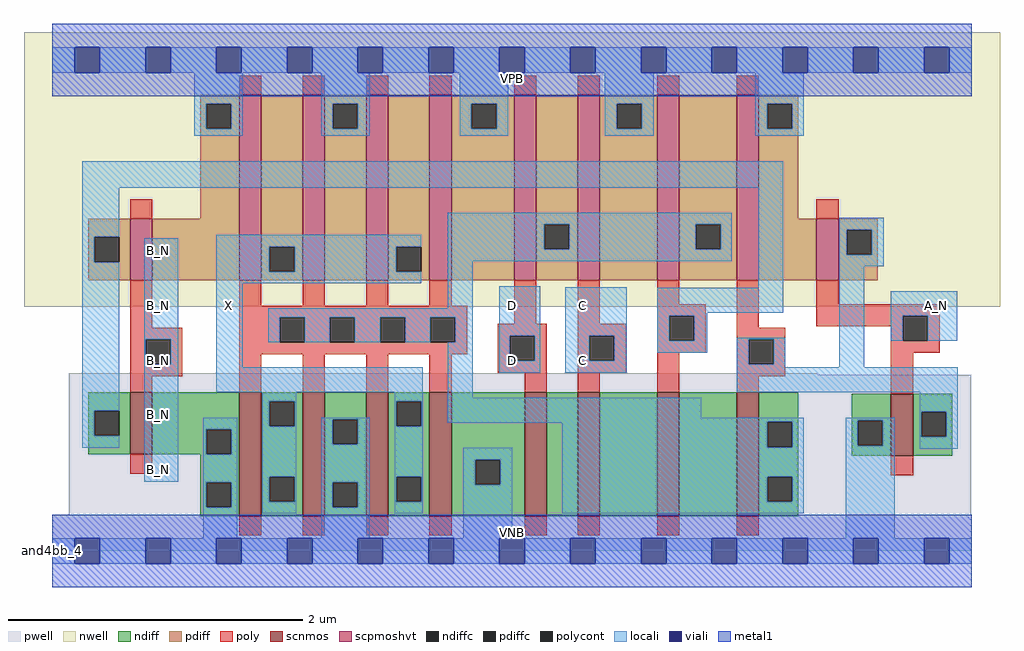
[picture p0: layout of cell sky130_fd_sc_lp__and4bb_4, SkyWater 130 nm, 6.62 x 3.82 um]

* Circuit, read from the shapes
.subckt sky130_fd_sc_lp__and4bb_4 A_N B_N C D VGND VNB VPB VPWR X
XM1 VGND B_N n1 VNB sky130_fd_pr__nfet_01v8 w=0.42 l=0.15
XM2 X n2 VGND VNB sky130_fd_pr__nfet_01v8 w=0.84 l=0.15 m=4
XM3 n3 D VGND VNB sky130_fd_pr__nfet_01v8 w=0.84 l=0.15
XM4 n4 C n3 VNB sky130_fd_pr__nfet_01v8 w=0.84 l=0.15
XM5 n5 n1 n4 VNB sky130_fd_pr__nfet_01v8 w=0.84 l=0.15
XM6 n2 n6 n5 VNB sky130_fd_pr__nfet_01v8 w=0.84 l=0.15
XM7 n6 A_N VGND VNB sky130_fd_pr__nfet_01v8 w=0.42 l=0.15
XM8 VPWR B_N n1 VPB sky130_fd_pr__pfet_01v8_hvt w=0.42 l=0.15
XM9 X n2 VPWR VPB sky130_fd_pr__pfet_01v8_hvt w=1.26 l=0.15 m=4
XM10 n2 D VPWR VPB sky130_fd_pr__pfet_01v8_hvt w=1.26 l=0.15
XM11 VPWR C n2 VPB sky130_fd_pr__pfet_01v8_hvt w=1.26 l=0.15
XM12 n2 n1 VPWR VPB sky130_fd_pr__pfet_01v8_hvt w=1.26 l=0.15
XM13 VPWR n6 n2 VPB sky130_fd_pr__pfet_01v8_hvt w=1.26 l=0.15
XM14 n6 A_N VPWR VPB sky130_fd_pr__pfet_01v8_hvt w=0.42 l=0.15
.ends

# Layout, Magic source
magic
tech sky130A
magscale 1 2
<< nwell >>
rect -38 331 1286 704
<< pwell >>
rect 23 239 1038 241
rect 23 49 1247 239
rect 0 0 1248 49
<< scnmos >>
rect 106 131 136 215
rect 254 47 284 215
rect 340 47 370 215
rect 426 47 456 215
rect 512 47 542 215
rect 641 47 671 215
rect 713 47 743 215
rect 821 47 851 215
rect 929 47 959 215
rect 1138 129 1168 213
<< scpmoshvt >>
rect 106 367 136 451
rect 254 367 284 619
rect 340 367 370 619
rect 426 367 456 619
rect 512 367 542 619
rect 627 367 657 619
rect 713 367 743 619
rect 821 367 851 619
rect 929 367 959 619
rect 1037 367 1067 451
<< ndiff >>
rect 49 190 106 215
rect 49 156 57 190
rect 91 156 106 190
rect 49 131 106 156
rect 136 165 254 215
rect 136 131 209 165
rect 243 131 254 165
rect 201 93 254 131
rect 201 59 209 93
rect 243 59 254 93
rect 201 47 254 59
rect 284 203 340 215
rect 284 169 295 203
rect 329 169 340 203
rect 284 101 340 169
rect 284 67 295 101
rect 329 67 340 101
rect 284 47 340 67
rect 370 179 426 215
rect 370 145 381 179
rect 415 145 426 179
rect 370 93 426 145
rect 370 59 381 93
rect 415 59 426 93
rect 370 47 426 59
rect 456 203 512 215
rect 456 169 467 203
rect 501 169 512 203
rect 456 101 512 169
rect 456 67 467 101
rect 501 67 512 101
rect 456 47 512 67
rect 542 124 641 215
rect 542 90 574 124
rect 608 90 641 124
rect 542 47 641 90
rect 671 47 713 215
rect 743 47 821 215
rect 851 47 929 215
rect 959 175 1012 215
rect 959 141 970 175
rect 1004 141 1012 175
rect 959 101 1012 141
rect 1085 177 1138 213
rect 1085 143 1093 177
rect 1127 143 1138 177
rect 1085 129 1138 143
rect 1168 189 1221 213
rect 1168 155 1179 189
rect 1213 155 1221 189
rect 1168 129 1221 155
rect 959 67 970 101
rect 1004 67 1012 101
rect 959 47 1012 67
<< pdiff >>
rect 201 607 254 619
rect 201 573 209 607
rect 243 573 254 607
rect 201 451 254 573
rect 49 426 106 451
rect 49 392 57 426
rect 91 392 106 426
rect 49 367 106 392
rect 136 367 254 451
rect 284 413 340 619
rect 284 379 295 413
rect 329 379 340 413
rect 284 367 340 379
rect 370 607 426 619
rect 370 573 381 607
rect 415 573 426 607
rect 370 367 426 573
rect 456 413 512 619
rect 456 379 467 413
rect 501 379 512 413
rect 456 367 512 379
rect 542 607 627 619
rect 542 573 569 607
rect 603 573 627 607
rect 542 367 627 573
rect 657 443 713 619
rect 657 409 668 443
rect 702 409 713 443
rect 657 367 713 409
rect 743 607 821 619
rect 743 573 766 607
rect 800 573 821 607
rect 743 367 821 573
rect 851 443 929 619
rect 851 409 873 443
rect 907 409 929 443
rect 851 367 929 409
rect 959 607 1012 619
rect 959 573 970 607
rect 1004 573 1012 607
rect 959 451 1012 573
rect 959 367 1037 451
rect 1067 436 1120 451
rect 1067 402 1078 436
rect 1112 402 1120 436
rect 1067 367 1120 402
<< ndiffc >>
rect 57 156 91 190
rect 209 131 243 165
rect 209 59 243 93
rect 295 169 329 203
rect 295 67 329 101
rect 381 145 415 179
rect 381 59 415 93
rect 467 169 501 203
rect 467 67 501 101
rect 574 90 608 124
rect 970 141 1004 175
rect 1093 143 1127 177
rect 1179 155 1213 189
rect 970 67 1004 101
<< pdiffc >>
rect 209 573 243 607
rect 57 392 91 426
rect 295 379 329 413
rect 381 573 415 607
rect 467 379 501 413
rect 569 573 603 607
rect 668 409 702 443
rect 766 573 800 607
rect 873 409 907 443
rect 970 573 1004 607
rect 1078 402 1112 436
<< poly >>
rect 254 619 284 645
rect 340 619 370 645
rect 426 619 456 645
rect 512 619 542 645
rect 627 619 657 645
rect 713 619 743 645
rect 821 619 851 645
rect 929 619 959 645
rect 106 451 136 477
rect 1037 451 1067 477
rect 106 303 136 367
rect 254 333 284 367
rect 340 333 370 367
rect 426 333 456 367
rect 512 333 542 367
rect 254 317 563 333
rect 106 287 177 303
rect 106 253 127 287
rect 161 253 177 287
rect 106 237 177 253
rect 254 283 309 317
rect 343 283 377 317
rect 411 283 445 317
rect 479 283 513 317
rect 547 283 563 317
rect 627 308 657 367
rect 713 308 743 367
rect 821 335 851 367
rect 821 319 887 335
rect 254 267 563 283
rect 605 292 671 308
rect 106 215 136 237
rect 254 215 284 267
rect 340 215 370 267
rect 426 215 456 267
rect 512 215 542 267
rect 605 258 621 292
rect 655 258 671 292
rect 605 242 671 258
rect 641 215 671 242
rect 713 292 779 308
rect 713 258 729 292
rect 763 258 779 292
rect 713 242 779 258
rect 821 285 837 319
rect 871 285 887 319
rect 821 269 887 285
rect 929 303 959 367
rect 1037 335 1067 367
rect 1037 319 1204 335
rect 1037 305 1154 319
rect 929 287 995 303
rect 713 215 743 242
rect 821 215 851 269
rect 929 253 945 287
rect 979 253 995 287
rect 929 237 995 253
rect 1138 285 1154 305
rect 1188 285 1204 319
rect 1138 269 1204 285
rect 929 215 959 237
rect 106 105 136 131
rect 1138 213 1168 269
rect 1138 103 1168 129
rect 254 21 284 47
rect 340 21 370 47
rect 426 21 456 47
rect 512 21 542 47
rect 641 21 671 47
rect 713 21 743 47
rect 821 21 851 47
rect 929 21 959 47
<< polycont >>
rect 127 253 161 287
rect 309 283 343 317
rect 377 283 411 317
rect 445 283 479 317
rect 513 283 547 317
rect 621 258 655 292
rect 729 258 763 292
rect 837 285 871 319
rect 945 253 979 287
rect 1154 285 1188 319
<< locali >>
rect 0 649 31 683
rect 65 649 127 683
rect 161 649 223 683
rect 257 649 319 683
rect 353 649 415 683
rect 449 649 511 683
rect 545 649 607 683
rect 641 649 703 683
rect 737 649 799 683
rect 833 649 895 683
rect 929 649 991 683
rect 1025 649 1087 683
rect 1121 649 1183 683
rect 1217 649 1248 683
rect 193 607 259 649
rect 193 573 209 607
rect 243 573 259 607
rect 193 563 259 573
rect 365 607 431 649
rect 365 573 381 607
rect 415 573 431 607
rect 365 563 431 573
rect 553 607 619 649
rect 553 573 569 607
rect 603 573 619 607
rect 553 563 619 573
rect 750 607 816 649
rect 750 573 766 607
rect 800 573 816 607
rect 750 563 816 573
rect 954 607 1020 649
rect 954 573 970 607
rect 1004 573 1020 607
rect 954 563 1020 573
rect 41 493 992 529
rect 41 426 91 493
rect 537 443 922 459
rect 41 392 57 426
rect 41 190 91 392
rect 41 156 57 190
rect 41 140 91 156
rect 125 287 171 424
rect 125 253 127 287
rect 161 253 171 287
rect 125 94 171 253
rect 223 413 501 429
rect 223 379 295 413
rect 329 379 467 413
rect 223 363 501 379
rect 537 409 668 443
rect 702 409 873 443
rect 907 409 922 443
rect 537 393 922 409
rect 223 249 259 363
rect 537 329 571 393
rect 293 317 571 329
rect 293 283 309 317
rect 343 283 377 317
rect 411 283 445 317
rect 479 283 513 317
rect 547 283 571 317
rect 223 215 503 249
rect 285 203 331 215
rect 205 165 251 181
rect 205 131 209 165
rect 243 131 251 165
rect 205 93 251 131
rect 205 59 209 93
rect 243 59 251 93
rect 205 17 251 59
rect 285 169 295 203
rect 329 169 331 203
rect 465 203 503 215
rect 285 101 331 169
rect 285 67 295 101
rect 329 67 331 101
rect 285 51 331 67
rect 365 179 431 181
rect 365 145 381 179
rect 415 145 431 179
rect 365 93 431 145
rect 365 59 381 93
rect 415 59 431 93
rect 365 17 431 59
rect 465 169 467 203
rect 501 169 503 203
rect 537 208 571 283
rect 607 292 662 359
rect 607 258 621 292
rect 655 258 662 292
rect 607 242 662 258
rect 696 292 780 358
rect 958 357 992 493
rect 696 258 729 292
rect 763 258 780 292
rect 821 323 992 357
rect 1068 436 1128 452
rect 1068 402 1078 436
rect 1112 402 1128 436
rect 1068 386 1128 402
rect 821 319 889 323
rect 821 285 837 319
rect 871 285 889 319
rect 821 269 889 285
rect 929 287 995 289
rect 696 242 780 258
rect 929 253 945 287
rect 979 253 995 287
rect 929 249 995 253
rect 1068 249 1102 386
rect 1138 319 1228 352
rect 1138 285 1154 319
rect 1188 285 1228 319
rect 929 215 1229 249
rect 537 181 881 208
rect 1177 189 1229 215
rect 537 175 1020 181
rect 537 174 970 175
rect 465 101 503 169
rect 692 141 970 174
rect 1004 141 1020 175
rect 465 67 467 101
rect 501 67 503 101
rect 465 51 503 67
rect 558 124 624 140
rect 558 90 574 124
rect 608 90 624 124
rect 558 17 624 90
rect 692 101 1020 141
rect 692 67 970 101
rect 1004 67 1020 101
rect 692 51 1020 67
rect 1077 177 1143 181
rect 1077 143 1093 177
rect 1127 143 1143 177
rect 1077 17 1143 143
rect 1177 155 1179 189
rect 1213 155 1229 189
rect 1177 139 1229 155
rect 0 -17 31 17
rect 65 -17 127 17
rect 161 -17 223 17
rect 257 -17 319 17
rect 353 -17 415 17
rect 449 -17 511 17
rect 545 -17 607 17
rect 641 -17 703 17
rect 737 -17 799 17
rect 833 -17 895 17
rect 929 -17 991 17
rect 1025 -17 1087 17
rect 1121 -17 1183 17
rect 1217 -17 1248 17
<< viali >>
rect 31 649 65 683
rect 127 649 161 683
rect 223 649 257 683
rect 319 649 353 683
rect 415 649 449 683
rect 511 649 545 683
rect 607 649 641 683
rect 703 649 737 683
rect 799 649 833 683
rect 895 649 929 683
rect 991 649 1025 683
rect 1087 649 1121 683
rect 1183 649 1217 683
rect 31 -17 65 17
rect 127 -17 161 17
rect 223 -17 257 17
rect 319 -17 353 17
rect 415 -17 449 17
rect 511 -17 545 17
rect 607 -17 641 17
rect 703 -17 737 17
rect 799 -17 833 17
rect 895 -17 929 17
rect 991 -17 1025 17
rect 1087 -17 1121 17
rect 1183 -17 1217 17
<< metal1 >>
rect 0 683 1248 715
rect 0 649 31 683
rect 65 649 127 683
rect 161 649 223 683
rect 257 649 319 683
rect 353 649 415 683
rect 449 649 511 683
rect 545 649 607 683
rect 641 649 703 683
rect 737 649 799 683
rect 833 649 895 683
rect 929 649 991 683
rect 1025 649 1087 683
rect 1121 649 1183 683
rect 1217 649 1248 683
rect 0 617 1248 649
rect 0 17 1248 49
rect 0 -17 31 17
rect 65 -17 127 17
rect 161 -17 223 17
rect 257 -17 319 17
rect 353 -17 415 17
rect 449 -17 511 17
rect 545 -17 607 17
rect 641 -17 703 17
rect 737 -17 799 17
rect 833 -17 895 17
rect 929 -17 991 17
rect 1025 -17 1087 17
rect 1121 -17 1183 17
rect 1217 -17 1248 17
rect 0 -49 1248 -17
<< labels >>
flabel pwell s 0 0 1248 49 0 FreeSans 200 0 0 0 VNB
port 6 nsew ground bidirectional
flabel nwell s 0 617 1248 666 0 FreeSans 200 0 0 0 VPB
port 7 nsew power bidirectional
rlabel comment s 0 0 0 0 4 and4bb_4
flabel metal1 s 0 617 1248 666 0 FreeSans 340 0 0 0 VPWR
port 8 nsew power bidirectional
flabel metal1 s 0 0 1248 49 0 FreeSans 340 0 0 0 VGND
port 5 nsew ground bidirectional
flabel locali s 703 242 737 276 0 FreeSans 340 0 0 0 C
port 3 nsew signal input
flabel locali s 703 316 737 350 0 FreeSans 340 0 0 0 C
port 3 nsew signal input
flabel locali s 607 242 641 276 0 FreeSans 340 0 0 0 D
port 4 nsew signal input
flabel locali s 607 316 641 350 0 FreeSans 340 0 0 0 D
port 4 nsew signal input
flabel locali s 1183 316 1217 350 0 FreeSans 340 0 0 0 A_N
port 1 nsew signal input
flabel locali s 127 94 161 128 0 FreeSans 340 0 0 0 B_N
port 2 nsew signal input
flabel locali s 127 168 161 202 0 FreeSans 340 0 0 0 B_N
port 2 nsew signal input
flabel locali s 127 242 161 276 0 FreeSans 340 0 0 0 B_N
port 2 nsew signal input
flabel locali s 127 316 161 350 0 FreeSans 340 0 0 0 B_N
port 2 nsew signal input
flabel locali s 127 390 161 424 0 FreeSans 340 0 0 0 B_N
port 2 nsew signal input
flabel locali s 223 316 257 350 0 FreeSans 340 0 0 0 X
port 9 nsew signal output
<< properties >>
string LEFsite unit
string LEFclass CORE
string FIXED_BBOX 0 0 1248 666
string GDS_FILE $PDKPATH/libs.ref/sky130_fd_sc_lp/gds/sky130_fd_sc_lp.gds
string LEFsymmetry X Y R90
string GDS_END 5243728
string GDS_START 5234652
<< end >>
